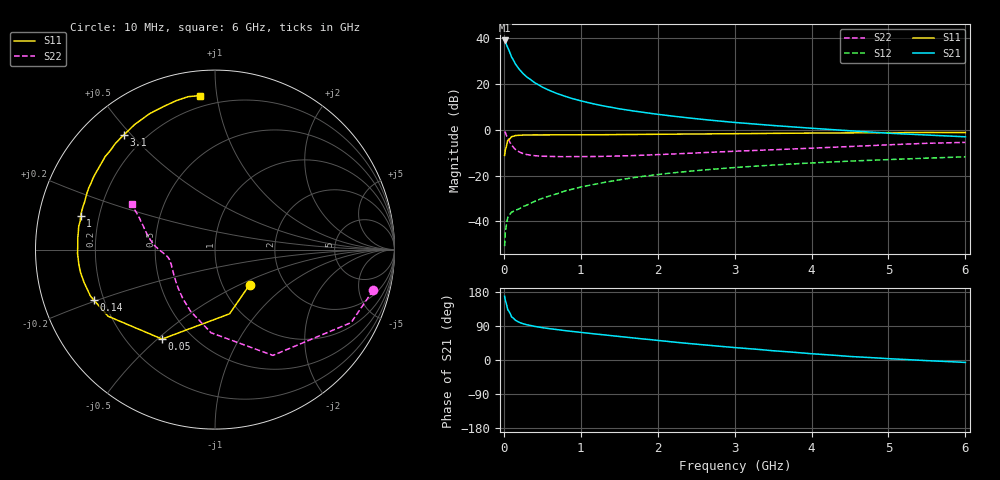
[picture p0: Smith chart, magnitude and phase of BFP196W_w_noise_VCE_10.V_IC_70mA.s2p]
! Infineon Technologies  Discrete & RF Semiconductors
! BFP196W
! VCE =  10. V,  IC =  70 mA
! Common Emitter S-Parameters:  Jan 2017
# GHz  S  MA  R  50
!  f  S11  S21  S12  S22
! GHz  MAG  ANG  MAG  ANG  MAG  ANG  MAG  ANG
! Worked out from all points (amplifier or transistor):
!   77 points, 10 MHz to 6 GHz, reference 50 ohm
!   highest |S21| = 38.8 dB at 10 MHz (marker M1)
!   |S21| within 3 dB of that: start of sweep to 49.14 MHz
!   unconditionally stable (mu >= 1): 622.4 MHz to 3.251 GHz
!   at 130 MHz: K = 0.46, MSG = 32.7 dB, |S12| = -35.5 dB
!   at 2.2 GHz: K = 1.04, MAG = 11.1 dB, |S12| = -18.8 dB
!   at 6 GHz: K = 0.93, MSG = 4.3 dB, |S12| = -11.8 dB
!   lowest NFmin = 1.58 dB at 450 MHz
!   S11 on the Smith chart (normalised r, x): 10 MHz: 1.34, -0.57; 50 MHz: 0.35, -0.52; 140 MHz: 0.16, -0.20; 1 GHz: 0.13, +0.12; 3.1 GHz: 0.12, +0.48; 6 GHz: 0.13, +0.90
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0.01  0.2748 -45.4  87.09 168.3  0.0029 72.7  0.9099 -14.4
0.02  0.3667 -77.2  81.62 157.0  0.0061 76.7  0.8605 -28.2
0.05  0.5792 -120.6  61.21 133.0  0.012 50.6  0.6719 -61.3
0.1  0.7022 -148.1  38.17 113.8  0.0159 43.4  0.4639 -92.7
0.14  0.7307 -157.3  29.08 107.2  0.0171 43.0  0.3851 -107.0
0.15  0.7406 -159.5  26.9 104.9  0.0174 42.9  0.3701 -111.5
0.2  0.752 -165.9  20.55 99.5  0.0189 45.2  0.3266 -123.3
0.25  0.7602 -170.4  16.58 95.7  0.0212 47.5  0.3006 -132.2
0.3  0.7629 -173.7  13.88 93.0  0.0227 49.5  0.286 -138.6
0.4  0.7661 -178.4  10.5 88.6  0.0273 55.2  0.2707 -147.3
0.5  0.7651 178.1  8.408 85.4  0.0319 57.5  0.263 -152.9
0.6  0.7674 175.2  7.029 82.5  0.0362 58.9  0.2609 -157.0
0.7  0.7677 172.8  6.021 80.1  0.0405 62.4  0.2579 -159.8
0.8  0.7703 170.3  5.278 77.4  0.0465 63.3  0.2574 -162.0
1  0.7721 165.9  4.23 72.9  0.0562 63.5  0.2578 -165.5
1.1  0.7731 163.8  3.852 70.7  0.0607 63.0  0.259 -166.5
1.5  0.7799 156.1  2.838 62.1  0.0806 62.4  0.2666 -171.0
2.1  0.7918 144.9  2.054 49.7  0.1098 58.5  0.2897 -176.4
3.1  0.8161 128.6  1.388 31.3  0.1531 49.9  0.3429 175.1
4.1  0.8411 114.5  1.043 15.2  0.1914 41.6  0.4004 165.1
5.1  0.8585 103.7  0.819 2.5  0.2255 33.7  0.4734 155.7
6  0.8621 95.4  0.696 -6.4  0.2558 26.7  0.527 150.9
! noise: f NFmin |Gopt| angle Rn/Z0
0.45  1.58  0.55  -175  0.06
0.9  1.7  0.58  -169  0.07
1.9  2.54  0.7  -148  0.18
2.4  2.95  0.74  -143  0.3
